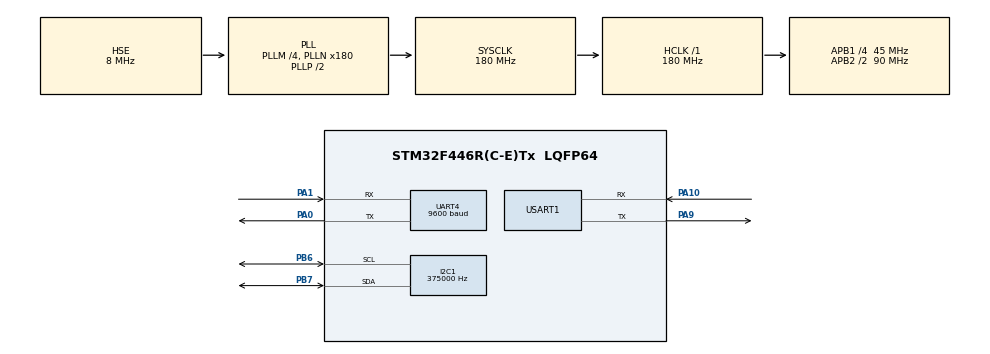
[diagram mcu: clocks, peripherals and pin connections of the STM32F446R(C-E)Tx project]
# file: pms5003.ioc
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Dma.I2C1_RX.2.Direction=DMA_PERIPH_TO_MEMORY
Dma.I2C1_RX.2.FIFOMode=DMA_FIFOMODE_DISABLE
Dma.I2C1_RX.2.Instance=DMA1_Stream0
Dma.I2C1_RX.2.MemDataAlignment=DMA_MDATAALIGN_BYTE
Dma.I2C1_RX.2.MemInc=DMA_MINC_ENABLE
Dma.I2C1_RX.2.Mode=DMA_NORMAL
Dma.I2C1_RX.2.PeriphDataAlignment=DMA_PDATAALIGN_BYTE
Dma.I2C1_RX.2.PeriphInc=DMA_PINC_DISABLE
Dma.I2C1_RX.2.Priority=DMA_PRIORITY_LOW
Dma.I2C1_TX.3.Direction=DMA_MEMORY_TO_PERIPH
Dma.I2C1_TX.3.FIFOMode=DMA_FIFOMODE_DISABLE
Dma.I2C1_TX.3.Instance=DMA1_Stream6
Dma.I2C1_TX.3.MemDataAlignment=DMA_MDATAALIGN_BYTE
Dma.I2C1_TX.3.MemInc=DMA_MINC_ENABLE
Dma.I2C1_TX.3.Mode=DMA_NORMAL
Dma.I2C1_TX.3.PeriphDataAlignment=DMA_PDATAALIGN_BYTE
Dma.I2C1_TX.3.PeriphInc=DMA_PINC_DISABLE
Dma.I2C1_TX.3.Priority=DMA_PRIORITY_LOW
Dma.Request0=UART4_RX
Dma.Request1=UART4_TX
Dma.Request2=I2C1_RX
Dma.Request3=I2C1_TX
Dma.UART4_RX.0.Direction=DMA_PERIPH_TO_MEMORY
Dma.UART4_RX.0.FIFOMode=DMA_FIFOMODE_DISABLE
Dma.UART4_RX.0.Instance=DMA1_Stream2
Dma.UART4_RX.0.MemDataAlignment=DMA_MDATAALIGN_BYTE
Dma.UART4_RX.0.MemInc=DMA_MINC_ENABLE
Dma.UART4_RX.0.Mode=DMA_CIRCULAR
Dma.UART4_RX.0.PeriphDataAlignment=DMA_PDATAALIGN_BYTE
Dma.UART4_RX.0.PeriphInc=DMA_PINC_DISABLE
Dma.UART4_RX.0.Priority=DMA_PRIORITY_HIGH
Dma.UART4_TX.1.Direction=DMA_MEMORY_TO_PERIPH
Dma.UART4_TX.1.FIFOMode=DMA_FIFOMODE_DISABLE
Dma.UART4_TX.1.Instance=DMA1_Stream4
Dma.UART4_TX.1.MemDataAlignment=DMA_MDATAALIGN_BYTE
Dma.UART4_TX.1.MemInc=DMA_MINC_ENABLE
Dma.UART4_TX.1.Mode=DMA_CIRCULAR
Dma.UART4_TX.1.PeriphDataAlignment=DMA_PDATAALIGN_BYTE
Dma.UART4_TX.1.PeriphInc=DMA_PINC_DISABLE
Dma.UART4_TX.1.Priority=DMA_PRIORITY_HIGH
I2C1.ClockSpeed=375000
I2C1.I2C_Mode=I2C_Fast
Mcu.Family=STM32F4
Mcu.Name=STM32F446R(C-E)Tx
Mcu.Package=LQFP64
NVIC.DMA1_Stream0_IRQn=true\:0\:0\:false\:false\:true\:false\:true\:true
NVIC.DMA1_Stream2_IRQn=true\:0\:0\:false\:false\:true\:false\:true\:true
NVIC.DMA1_Stream4_IRQn=true\:0\:0\:false\:false\:true\:false\:true\:true
NVIC.DMA1_Stream6_IRQn=true\:0\:0\:false\:false\:true\:false\:true\:true
NVIC.I2C1_ER_IRQn=true\:0\:0\:false\:false\:true\:true\:true\:true
NVIC.I2C1_EV_IRQn=true\:0\:0\:false\:false\:true\:true\:true\:true
NVIC.PriorityGroup=NVIC_PRIORITYGROUP_4
NVIC.UART4_IRQn=true\:0\:0\:false\:false\:true\:true\:true\:true
NVIC.USART1_IRQn=true\:0\:0\:false\:false\:true\:true\:true\:true
PA0-WKUP.Mode=Asynchronous
PA0-WKUP.Signal=UART4_TX
PA1.Mode=Asynchronous
PA1.Signal=UART4_RX
PA10.Mode=Asynchronous
PA10.Signal=USART1_RX
PA13.Mode=Serial_Wire
PA13.Signal=SYS_JTMS-SWDIO
PA14.Mode=Serial_Wire
PA14.Signal=SYS_JTCK-SWCLK
PA9.Mode=Asynchronous
PA9.Signal=USART1_TX
PB6.Mode=I2C
PB6.Signal=I2C1_SCL
PB7.Mode=I2C
PB7.Signal=I2C1_SDA
PC14-OSC32_IN.Mode=LSE-External-Oscillator
PC14-OSC32_IN.Signal=RCC_OSC32_IN
PC15-OSC32_OUT.Mode=LSE-External-Oscillator
PC15-OSC32_OUT.Signal=RCC_OSC32_OUT
PH0-OSC_IN.Mode=HSE-External-Oscillator
PH0-OSC_IN.Signal=RCC_OSC_IN
PH1-OSC_OUT.Mode=HSE-External-Oscillator
PH1-OSC_OUT.Signal=RCC_OSC_OUT
ProjectManager.HeapSize=0x200
ProjectManager.StackSize=0x400
ProjectManager.TargetToolchain=STM32CubeIDE
RCC.AHBFreq_Value=180000000
RCC.APB1CLKDivider=RCC_HCLK_DIV4
RCC.APB1Freq_Value=45000000
RCC.APB1TimFreq_Value=90000000
RCC.APB2CLKDivider=RCC_HCLK_DIV2
RCC.APB2Freq_Value=90000000
RCC.APB2TimFreq_Value=180000000
RCC.CortexFreq_Value=180000000
RCC.HCLKFreq_Value=180000000
RCC.HSE_VALUE=8000000
RCC.PLLM=4
RCC.PLLN=180
RCC.PLLSourceVirtual=RCC_PLLSOURCE_HSE
RCC.RCC_RTC_Clock_SourceVirtual=RCC_RTCCLKSOURCE_LSE
RCC.SYSCLKFreq_VALUE=180000000
RCC.SYSCLKSource=RCC_SYSCLKSOURCE_PLLCLK
RCC.USBFreq_Value=180000000
RCC.VCOOutputFreq_Value=360000000
RTC.Date=23
RTC.Month=RTC_MONTH_JULY
RTC.WeekDay=RTC_WEEKDAY_THURSDAY
RTC.Year=26
UART4.BaudRate=9600
UART4.VirtualMode=Asynchronous
USART1.VirtualMode=VM_ASYNC
VP_RTC_VS_RTC_Activate.Mode=RTC_Enabled
VP_RTC_VS_RTC_Calendar.Mode=RTC_Calendar
board=custom

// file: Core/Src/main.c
/* USER CODE BEGIN Header */
/**
  ******************************************************************************
  * @file           : main.c
  * @brief          : Main program body
  ******************************************************************************
  * @attention
  *
  * Copyright (c) 2026 STMicroelectronics.
  * All rights reserved.
  *
  * This software is licensed under terms that can be found in the LICENSE file
  * in the root directory of this software component.
  * If no LICENSE file comes with this software, it is provided AS-IS.
  *
  ******************************************************************************
  */
/* USER CODE END Header */
#include "main.h"

/* USER CODE BEGIN Includes */
#include "driver_pmsx003.h"
#include "driver_pmsx003_interface.h"
#include "u8g2_port.h"
#include <stdio.h>
#include <string.h>
/* USER CODE END Includes */

I2C_HandleTypeDef hi2c1;
DMA_HandleTypeDef hdma_i2c1_rx;
DMA_HandleTypeDef hdma_i2c1_tx;

RTC_HandleTypeDef hrtc;

UART_HandleTypeDef huart4;
UART_HandleTypeDef huart1;
DMA_HandleTypeDef hdma_uart4_rx;
DMA_HandleTypeDef hdma_uart4_tx;

/* USER CODE BEGIN PV */
RingBuffer txBuf, rxBuf;
static pmsx003_handle_t gs_pms;
/* USER CODE END PV */

void SystemClock_Config(void);
static void MX_GPIO_Init(void);
static void MX_DMA_Init(void);
static void MX_I2C1_Init(void);
static void MX_UART4_Init(void);
static void MX_RTC_Init(void);
static void MX_USART1_UART_Init(void);
/* USER CODE BEGIN PFP */
static uint8_t PMS_Init(void);
static void PMS_PrintData(pmsx003_data_t *d);
static void PMS_ShowData(pmsx003_data_t *d);
static void OLED_ShowMessage(const char *msg);
static void I2C_Scan(void);
/* USER CODE END PFP */

/* USER CODE BEGIN 0 */
static uint8_t PMS_Init(void)
{
  DRIVER_PMSX003_LINK_INIT(&gs_pms, pmsx003_handle_t);
  DRIVER_PMSX003_LINK_UART_INIT(&gs_pms, pmsx003_interface_uart_init);
  DRIVER_PMSX003_LINK_UART_DEINIT(&gs_pms, pmsx003_interface_uart_deinit);
  DRIVER_PMSX003_LINK_UART_READ(&gs_pms, pmsx003_interface_uart_read);
  DRIVER_PMSX003_LINK_UART_WRITE(&gs_pms, pmsx003_interface_uart_write);
  DRIVER_PMSX003_LINK_UART_FLUSH(&gs_pms, pmsx003_interface_uart_flush);
  DRIVER_PMSX003_LINK_RESET_GPIO_INIT(&gs_pms, pmsx003_interface_reset_gpio_init);
  DRIVER_PMSX003_LINK_RESET_GPIO_DEINIT(&gs_pms, pmsx003_interface_reset_gpio_deinit);
  DRIVER_PMSX003_LINK_RESET_GPIO_WRITE(&gs_pms, pmsx003_interface_reset_gpio_write);
  DRIVER_PMSX003_LINK_SET_GPIO_INIT(&gs_pms, pmsx003_interface_set_gpio_init);
  DRIVER_PMSX003_LINK_SET_GPIO_DEINIT(&gs_pms, pmsx003_interface_set_gpio_deinit);
  DRIVER_PMSX003_LINK_SET_GPIO_WRITE(&gs_pms, pmsx003_interface_set_gpio_write);
  DRIVER_PMSX003_LINK_DELAY_MS(&gs_pms, pmsx003_interface_delay_ms);
  DRIVER_PMSX003_LINK_DEBUG_PRINT(&gs_pms, pmsx003_interface_debug_print);

  /* pmsx003_init leaves the handle in active mode, where the sensor pushes a 32 byte
     frame about once per second on its own, so no mode command is sent here */
  if (pmsx003_init(&gs_pms) != 0)
  {
    return 1;
  }

  return 0;
}

static void PMS_PrintData(pmsx003_data_t *d)
{
  pmsx003_interface_debug_print("pms5003: standard  pm1.0 %u ug/m3, pm2.5 %u ug/m3, pm10 %u ug/m3.\r\n",
                                d->pm1p0_standard_ug_m3, d->pm2p5_standard_ug_m3, d->pm10_standard_ug_m3);
  pmsx003_interface_debug_print("pms5003: atmosphere pm1.0 %u ug/m3, pm2.5 %u ug/m3, pm10 %u ug/m3.\r\n",
                                d->pm1p0_atmospheric_ug_m3, d->pm2p5_atmospheric_ug_m3, d->pm10_atmospheric_ug_m3);
  pmsx003_interface_debug_print("pms5003: particles per 0.1L >0.3um %u, >0.5um %u, >1.0um %u.\r\n",
                                d->beyond_0p3um, d->beyond_0p5um, d->beyond_1p0um);
  pmsx003_interface_debug_print("pms5003: particles per 0.1L >2.5um %u, >5.0um %u, >10um %u.\r\n",
                                d->beyond_2p5um, d->beyond_5p0um, d->beyond_10um);
  pmsx003_interface_debug_print("pms5003: version 0x%02X, error code 0x%02X.\r\n\r\n",
                                d->version, d->error_code);
}

static void PMS_ShowData(pmsx003_data_t *d)
{
  char line[24];

  u8g2_ClearBuffer(&gs_u8g2);

  u8g2_SetFont(&gs_u8g2, u8g2_font_6x12_tf);
  u8g2_DrawStr(&gs_u8g2, 0, 10, "PM        ug/m3");
  u8g2_DrawHLine(&gs_u8g2, 0, 13, 128);

  u8g2_SetFont(&gs_u8g2, u8g2_font_7x14B_tf);
  snprintf(line, sizeof(line), "1.0  %5u", d->pm1p0_atmospheric_ug_m3);
  u8g2_DrawStr(&gs_u8g2, 0, 30, line);
  snprintf(line, sizeof(line), "2.5  %5u", d->pm2p5_atmospheric_ug_m3);
  u8g2_DrawStr(&gs_u8g2, 0, 46, line);
  snprintf(line, sizeof(line), "10   %5u", d->pm10_atmospheric_ug_m3);
  u8g2_DrawStr(&gs_u8g2, 0, 62, line);

  u8g2_SendBuffer(&gs_u8g2);
}

static void OLED_ShowMessage(const char *msg)
{
  u8g2_ClearBuffer(&gs_u8g2);
  u8g2_SetFont(&gs_u8g2, u8g2_font_6x12_tf);
  u8g2_DrawStr(&gs_u8g2, 0, 32, msg);
  u8g2_SendBuffer(&gs_u8g2);
}

static void I2C_Scan(void)
{
  uint8_t found = 0;

  pmsx003_interface_debug_print("i2c: scanning bus.\r\n");
  for (uint8_t addr = 0x08; addr < 0x78; addr++)
  {
    /* HAL takes the 8-bit form of the address */
    if (HAL_I2C_IsDeviceReady(&hi2c1, (uint16_t)(addr << 1), 3, 10) == HAL_OK)
    {
      pmsx003_interface_debug_print("i2c: device at 7-bit 0x%02X (write 0x%02X).\r\n",
                                    addr, addr << 1);
      found++;
    }
  }
  if (found == 0)
  {
    pmsx003_interface_debug_print("i2c: no device found, check wiring and pull-ups.\r\n");
  }
}
/* USER CODE END 0 */

int main(void)
{

  /* MCU Configuration--------------------------------------------------------*/

  /* Reset of all peripherals, Initializes the Flash interface and the Systick. */
  HAL_Init();

  /* Configure the system clock */
  SystemClock_Config();

  /* Initialize all configured peripherals */
  MX_GPIO_Init();
  MX_DMA_Init();
  MX_I2C1_Init();
  MX_UART4_Init();
  MX_RTC_Init();
  MX_USART1_UART_Init();
  /* USER CODE BEGIN 2 */
  RingBuffer_Init(&txBuf);
  RingBuffer_Init(&rxBuf);

  pmsx003_interface_debug_print("pms5003: starting.\r\n");
  I2C_Scan();

  if (u8g2_port_init() != 0)
  {
    pmsx003_interface_debug_print("sh1106: not responding at 0x78.\r\n");
    Error_Handler();
  }
  OLED_ShowMessage("warming up...");

  if (PMS_Init() != 0)
  {
    pmsx003_interface_debug_print("pms5003: init failed.\r\n");
    OLED_ShowMessage("pms init failed");
    Error_Handler();
  }
  pmsx003_interface_debug_print("pms5003: init ok, warming up.\r\n");

  /* the sensor needs about 30s of fan run time before the readings settle */
  HAL_Delay(2000);
  /* USER CODE END 2 */

  /* Infinite loop */
  while (1)
  {

    /* USER CODE BEGIN 3 */
    pmsx003_data_t data;
    uint8_t res;

    /* pmsx003_read needs 64 buffered bytes, that is two frames, so wait a bit over 2s */
    HAL_Delay(2500);

    res = pmsx003_read(&gs_pms, &data);
    if (res == 0)
    {
      PMS_PrintData(&data);
      PMS_ShowData(&data);
    }
    else
    {
      pmsx003_interface_debug_print("pms5003: read failed, code %u.\r\n", res);
      OLED_ShowMessage("read failed");
      (void)pmsx003_interface_uart_flush();
    }
  }
  /* USER CODE END 3 */
}

void SystemClock_Config(void)
{
  RCC_OscInitTypeDef RCC_OscInitStruct = {0};
  RCC_ClkInitTypeDef RCC_ClkInitStruct = {0};

  /** Configure the main internal regulator output voltage
  */
  __HAL_RCC_PWR_CLK_ENABLE();
  __HAL_PWR_VOLTAGESCALING_CONFIG(PWR_REGULATOR_VOLTAGE_SCALE1);

  /** Initializes the RCC Oscillators according to the specified parameters
  * in the RCC_OscInitTypeDef structure.
  */
  RCC_OscInitStruct.OscillatorType = RCC_OSCILLATORTYPE_HSE|RCC_OSCILLATORTYPE_LSE;
  RCC_OscInitStruct.HSEState = RCC_HSE_ON;
  RCC_OscInitStruct.LSEState = RCC_LSE_ON;
  RCC_OscInitStruct.PLL.PLLState = RCC_PLL_ON;
  RCC_OscInitStruct.PLL.PLLSource = RCC_PLLSOURCE_HSE;
  RCC_OscInitStruct.PLL.PLLM = 4;
  RCC_OscInitStruct.PLL.PLLN = 180;
  RCC_OscInitStruct.PLL.PLLP = RCC_PLLP_DIV2;
  RCC_OscInitStruct.PLL.PLLQ = 2;
  RCC_OscInitStruct.PLL.PLLR = 2;
  if (HAL_RCC_OscConfig(&RCC_OscInitStruct) != HAL_OK)
  {
    Error_Handler();
  }

  /** Activate the Over-Drive mode
  */
  if (HAL_PWREx_EnableOverDrive() != HAL_OK)
  {
    Error_Handler();
  }

  /** Initializes the CPU, AHB and APB buses clocks
  */
  RCC_ClkInitStruct.ClockType = RCC_CLOCKTYPE_HCLK|RCC_CLOCKTYPE_SYSCLK
                              |RCC_CLOCKTYPE_PCLK1|RCC_CLOCKTYPE_PCLK2;
  RCC_ClkInitStruct.SYSCLKSource = RCC_SYSCLKSOURCE_PLLCLK;
  RCC_ClkInitStruct.AHBCLKDivider = RCC_SYSCLK_DIV1;
  RCC_ClkInitStruct.APB1CLKDivider = RCC_HCLK_DIV4;
  RCC_ClkInitStruct.APB2CLKDivider = RCC_HCLK_DIV2;

  if (HAL_RCC_ClockConfig(&RCC_ClkInitStruct, FLASH_LATENCY_5) != HAL_OK)
  {
    Error_Handler();
  }
}

static void MX_I2C1_Init(void)
{

  hi2c1.Instance = I2C1;
  hi2c1.Init.ClockSpeed = 375000;
  hi2c1.Init.DutyCycle = I2C_DUTYCYCLE_2;
  hi2c1.Init.OwnAddress1 = 0;
  hi2c1.Init.AddressingMode = I2C_ADDRESSINGMODE_7BIT;
  hi2c1.Init.DualAddressMode = I2C_DUALADDRESS_DISABLE;
  hi2c1.Init.OwnAddress2 = 0;
  hi2c1.Init.GeneralCallMode = I2C_GENERALCALL_DISABLE;
  hi2c1.Init.NoStretchMode = I2C_NOSTRETCH_DISABLE;
  if (HAL_I2C_Init(&hi2c1) != HAL_OK)
  {
    Error_Handler();
  }

}

static void MX_RTC_Init(void)
{

  RTC_TimeTypeDef sTime = {0};
  RTC_DateTypeDef sDate = {0};

  /** Initialize RTC Only
  */
  hrtc.Instance = RTC;
  hrtc.Init.HourFormat = RTC_HOURFORMAT_24;
  hrtc.Init.AsynchPrediv = 127;
  hrtc.Init.SynchPrediv = 255;
  hrtc.Init.OutPut = RTC_OUTPUT_DISABLE;
  hrtc.Init.OutPutPolarity = RTC_OUTPUT_POLARITY_HIGH;
  hrtc.Init.OutPutType = RTC_OUTPUT_TYPE_OPENDRAIN;
  if (HAL_RTC_Init(&hrtc) != HAL_OK)
  {
    Error_Handler();
  }

  /** Initialize RTC and set the Time and Date
  */
  sTime.Hours = 0x0;
  sTime.Minutes = 0x0;
  sTime.Seconds = 0x0;
  sTime.DayLightSaving = RTC_DAYLIGHTSAVING_NONE;
  sTime.StoreOperation = RTC_STOREOPERATION_RESET;
  if (HAL_RTC_SetTime(&hrtc, &sTime, RTC_FORMAT_BCD) != HAL_OK)
  {
    Error_Handler();
  }
  sDate.WeekDay = RTC_WEEKDAY_THURSDAY;
  sDate.Month = RTC_MONTH_JULY;
  sDate.Date = 0x23;
  sDate.Year = 0x26;

  if (HAL_RTC_SetDate(&hrtc, &sDate, RTC_FORMAT_BCD) != HAL_OK)
  {
    Error_Handler();
  }

}

static void MX_UART4_Init(void)
{

  huart4.Instance = UART4;
  huart4.Init.BaudRate = 9600;
  huart4.Init.WordLength = UART_WORDLENGTH_8B;
  huart4.Init.StopBits = UART_STOPBITS_1;
  huart4.Init.Parity = UART_PARITY_NONE;
  huart4.Init.Mode = UART_MODE_TX_RX;
  huart4.Init.HwFlowCtl = UART_HWCONTROL_NONE;
  huart4.Init.OverSampling = UART_OVERSAMPLING_16;
  if (HAL_UART_Init(&huart4) != HAL_OK)
  {
    Error_Handler();
  }

}

static void MX_USART1_UART_Init(void)
{

  huart1.Instance = USART1;
  huart1.Init.BaudRate = 115200;
  huart1.Init.WordLength = UART_WORDLENGTH_8B;
  huart1.Init.StopBits = UART_STOPBITS_1;
  huart1.Init.Parity = UART_PARITY_NONE;
  huart1.Init.Mode = UART_MODE_TX_RX;
  huart1.Init.HwFlowCtl = UART_HWCONTROL_NONE;
  huart1.Init.OverSampling = UART_OVERSAMPLING_16;
  if (HAL_UART_Init(&huart1) != HAL_OK)
  {
    Error_Handler();
  }

}

static void MX_DMA_Init(void)
{

  /* DMA controller clock enable */
  __HAL_RCC_DMA1_CLK_ENABLE();

  /* DMA interrupt init */
  /* DMA1_Stream0_IRQn interrupt configuration */
  HAL_NVIC_SetPriority(DMA1_Stream0_IRQn, 0, 0);
  HAL_NVIC_EnableIRQ(DMA1_Stream0_IRQn);
  /* DMA1_Stream2_IRQn interrupt configuration */
  HAL_NVIC_SetPriority(DMA1_Stream2_IRQn, 0, 0);
  HAL_NVIC_EnableIRQ(DMA1_Stream2_IRQn);
  /* DMA1_Stream4_IRQn interrupt configuration */
  HAL_NVIC_SetPriority(DMA1_Stream4_IRQn, 0, 0);
  HAL_NVIC_EnableIRQ(DMA1_Stream4_IRQn);
  /* DMA1_Stream6_IRQn interrupt configuration */
  HAL_NVIC_SetPriority(DMA1_Stream6_IRQn, 0, 0);
  HAL_NVIC_EnableIRQ(DMA1_Stream6_IRQn);

}

static void MX_GPIO_Init(void)
{

  /* GPIO Ports Clock Enable */
  __HAL_RCC_GPIOC_CLK_ENABLE();
  __HAL_RCC_GPIOH_CLK_ENABLE();
  __HAL_RCC_GPIOA_CLK_ENABLE();
  __HAL_RCC_GPIOB_CLK_ENABLE();

}

/* USER CODE BEGIN 4 */
uint8_t UART_Transmit(UART_HandleTypeDef *huart, uint8_t *pData, uint16_t len)
{
  if (huart->gState == HAL_UART_STATE_READY)
  {
    if (HAL_UART_Transmit_IT(huart, pData, len) == HAL_OK)
    {
      return 1;
    }
  }

  // If UART is busy, store in ring buffer
  if (RingBuffer_Write(&txBuf, pData, len) == RING_BUFFER_OK)
  {
    return 1;
  }

  return 0;
}

/* USER CODE END 4 */

void Error_Handler(void)
{
  __disable_irq();
  while (1)
  {
  }
}
